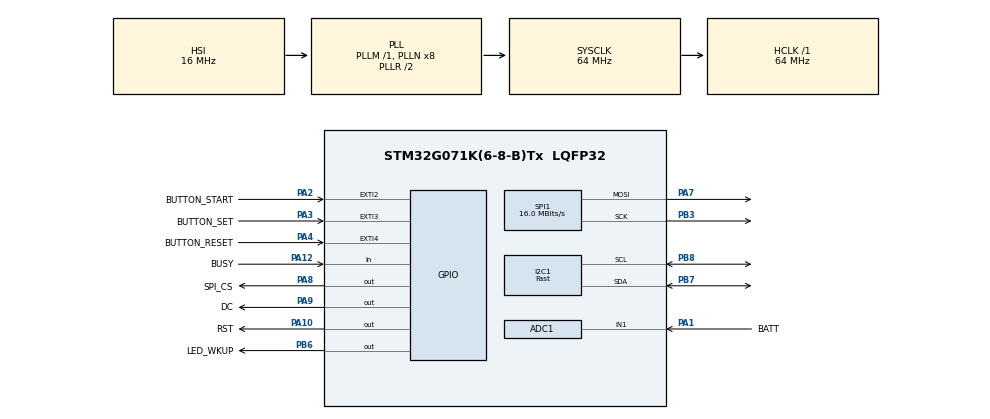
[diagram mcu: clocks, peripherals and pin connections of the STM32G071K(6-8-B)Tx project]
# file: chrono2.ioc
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ADC1.Channel-0\#ChannelRegularConversion=ADC_CHANNEL_1
ADC1.ContinuousConvMode=DISABLE
ADC1.NbrOfConversionFlag=1
ADC1.Overrun=ADC_OVR_DATA_OVERWRITTEN
ADC1.Rank-0\#ChannelRegularConversion=1
ADC1.SamplingTime-0\#ChannelRegularConversion=ADC_SAMPLINGTIME_COMMON_1
ADC1.SelectedChannel=ADC_CHANNEL_1
ADC1.master=1
I2C1.I2C_Speed_Mode=I2C_Fast
I2C1.Timing=0x00602173
Mcu.Family=STM32G0
Mcu.Name=STM32G071K(6-8-B)Tx
Mcu.Package=LQFP32
NVIC.EXTI2_3_IRQn=true\:0\:0\:false\:false\:true\:true\:true\:true
NVIC.EXTI4_15_IRQn=true\:0\:0\:false\:false\:true\:true\:true\:true
NVIC.RTC_TAMP_IRQn=true\:0\:0\:false\:false\:true\:true\:true\:true
NVIC.TIM3_IRQn=true\:0\:0\:false\:false\:true\:true\:true\:true
NVIC.TIM6_DAC_LPTIM1_IRQn=true\:0\:0\:false\:false\:true\:true\:true\:true
PA1.GPIO_Label=BATT
PA1.Mode=IN1
PA1.Signal=ADC1_IN1
PA10.GPIO_Label=RST
PA10.Signal=GPIO_Output
PA12\ [PA10].GPIO_Label=BUSY
PA12\ [PA10].Signal=GPIO_Input
PA13.Mode=Serial_Wire
PA13.Signal=SYS_SWDIO
PA14-BOOT0.Mode=Serial_Wire
PA14-BOOT0.Signal=SYS_SWCLK
PA2.GPIO_Label=BUTTON_START
PA2.GPIO_ModeDefaultEXTI=GPIO_MODE_IT_FALLING
PA2.GPIO_PuPd=GPIO_NOPULL
PA2.Signal=GPXTI2
PA3.GPIO_Label=BUTTON_SET
PA3.GPIO_ModeDefaultEXTI=GPIO_MODE_IT_FALLING
PA3.GPIO_PuPd=GPIO_NOPULL
PA3.Signal=GPXTI3
PA4.GPIO_Label=BUTTON_RESET
PA4.GPIO_ModeDefaultEXTI=GPIO_MODE_IT_FALLING
PA4.GPIO_PuPd=GPIO_NOPULL
PA4.Signal=GPXTI4
PA7.Mode=TX_Only_Simplex_Unidirect_Master
PA7.Signal=SPI1_MOSI
PA8.GPIO_Label=SPI_CS
PA8.Signal=GPIO_Output
PA9.GPIO_Label=DC
PA9.Signal=GPIO_Output
PB3.Mode=TX_Only_Simplex_Unidirect_Master
PB3.Signal=SPI1_SCK
PB6.GPIO_Label=LED_WKUP
PB6.Signal=GPIO_Output
PB7.Mode=I2C
PB7.Signal=I2C1_SDA
PB8.Mode=I2C
PB8.Signal=I2C1_SCL
PC14-OSC32_IN\ (PC14).Mode=LSE-External-Oscillator
PC14-OSC32_IN\ (PC14).Signal=RCC_OSC32_IN
PC15-OSC32_OUT\ (PC15).Mode=LSE-External-Oscillator
PC15-OSC32_OUT\ (PC15).Signal=RCC_OSC32_OUT
ProjectManager.HeapSize=0x200
ProjectManager.StackSize=0x400
ProjectManager.TargetToolchain=STM32CubeIDE
RCC.ADCFreq_Value=64000000
RCC.AHBFreq_Value=64000000
RCC.CortexFreq_Value=64000000
RCC.EXTERNAL_CLOCK_VALUE=48000
RCC.HCLKFreq_Value=64000000
RCC.HSE_VALUE=8000000
RCC.HSI_VALUE=16000000
RCC.RTCClockSelection=RCC_RTCCLKSOURCE_LSE
RCC.SYSCLKFreq_VALUE=64000000
RCC.SYSCLKSource=RCC_SYSCLKSOURCE_PLLCLK
RCC.VCOOutputFreq_Value=128000000
RTC.Date=12
RTC.Format=RTC_FORMAT_BIN
RTC.Hours=10
RTC.Minutes=10
RTC.Month=RTC_MONTH_NOVEMBER
RTC.WakeUpClock-WakeUp=RTC_WAKEUPCLOCK_CK_SPRE_16BITS
RTC.WakeUpCounter-WakeUp=60
RTC.WeekDay=RTC_WEEKDAY_SATURDAY
RTC.Year=22
SPI1.BaudRatePrescaler=SPI_BAUDRATEPRESCALER_4
SPI1.CalculateBaudRate=16.0 MBits/s
SPI1.DataSize=SPI_DATASIZE_8BIT
SPI1.Direction=SPI_DIRECTION_2LINES
SPI1.Mode=SPI_MODE_MASTER
SPI1.VirtualType=VM_MASTER
TIM3.Period=19999
TIM3.Prescaler=3199
TIM6.Period=199
TIM6.Prescaler=3199
VP_CRC_VS_CRC.Mode=CRC_Activate
VP_RTC_VS_RTC_Activate.Mode=RTC_Enabled
VP_RTC_VS_RTC_Calendar.Mode=RTC_Calendar
VP_RTC_VS_RTC_WakeUp_intern.Mode=WakeUp
VP_SYS_VS_DBSignals.Mode=DisableDeadBatterySignals
VP_TIM3_VS_ClockSourceINT.Mode=Internal
VP_TIM6_VS_ClockSourceINT.Mode=Enable_Timer
board=custom

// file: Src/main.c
/* USER CODE BEGIN Header */
/**
 ******************************************************************************
 * @file           : main.c
 * @brief          : Main program body
 ******************************************************************************
 * @attention
 *
 * Copyright (c) 2022 STMicroelectronics.
 * All rights reserved.
 *
 * This software is licensed under terms that can be found in the LICENSE file
 * in the root directory of this software component.
 * If no LICENSE file comes with this software, it is provided AS-IS.
 *
 ******************************************************************************
 */

/*
 * Chrono 2 by Bart's design
 *
 *todo:
 *-automatic color change at night
 *-fix magnetometer current drain
 *-move settings to separate files
 *
 *
 *in cause of multiple definitions in .o files
project->properties->C/C++ Build->Settings->MCU GCC Compiler->Miscellanous
add other flag: -fcommon
 */
/* USER CODE END Header */
#include "main.h"
#include "adc.h"
#include "crc.h"
#include "i2c.h"
#include "rtc.h"
#include "spi.h"
#include "tim.h"
#include "gpio.h"

/* USER CODE BEGIN Includes */

//			Barts design libraries
#include <bd_libs/adc_bd.h>
#include <bd_libs/backup_bd.h>
#include <bd_libs/bme280_bd.h>
#include <bd_libs/lis3mdl_bd.h>
#include <bd_libs/rtc_bd.h>
#include <bd_libs/forecast_bd.h>
#include <chrono/battery.h>
#include <chrono/interface.h>
#include <chrono/sleep.h>
#include <chrono/timers.h>
#include <chrono/watch.h>

//			Display libraries
#include "Display_EPD/EPD_1in54_V2.h"
#include "Display_Config/DEV_Config.h"

//			Waveshare GUI Library
#include "Display_GUI/GUI_Paint.h"

//			tacho libraries
#include <stdlib.h>

//			EEPROM emulation libs
#include "EEPROM_Emul/eeprom_emul.h"

/* USER CODE END Includes */

/* USER CODE BEGIN PV */

//			Create chronograph structure
RTCChronoTypeDef chrono = { 0 };

//			Create sensors structures
lis3mdlTypeDef magnetometer = { 0 };
bme280TypeDef atmospherical = { 0 };

//			Create interface structure
interfaceTypeDef interface = { 0 };

//			Create interface settings structure
interfaceSettingsTypeDef settings = { 0 };

//			Create watch structure
watchTypeDef watch = { 0 };

//			Create forecast structure
forecastTypeDef forecast = { 0 };
/* USER CODE END PV */

void SystemClock_Config(void);

int main(void) {

	/* MCU Configuration--------------------------------------------------------*/

	/* Reset of all peripherals, Initializes the Flash interface and the Systick. */
	HAL_Init();

	/* Configure the system clock */
	SystemClock_Config();

	/* Initialize all configured peripherals */
	MX_GPIO_Init();
	MX_ADC1_Init();
	MX_I2C1_Init();
	MX_RTC_Init();
	MX_SPI1_Init();
	MX_TIM3_Init();
	MX_CRC_Init();
	MX_TIM6_Init();
	/* USER CODE BEGIN 2 */
	rtcInit(&chrono);
	lis3mdlInit(&magnetometer, &hi2c1);
	bme280Init(&atmospherical, &hi2c1);
	interfaceInit(&interface);
	interfaceSettingsInit(&settings);
	watchInit(&watch);
	timersInit();
	batteryCheckInit();
	forecastInit(&forecast);

	interfaceClear(&interface);
	interfaceUpdateModeSwitch(&interface, INTERFACE_UPDATE_MODE_PARTIAL);
	/* USER CODE END 2 */

	/* Infinite loop */
	/* USER CODE BEGIN WHILE */
	while (1) {

		rtcGetTime(&chrono);
		lis3mdlRead(&magnetometer);
		lis3mdlGetCalibrationSample(&magnetometer);
		bme280Read(&atmospherical);
		batteryReadState();
		forecastAppendActual(&forecast, &atmospherical, &chrono);

		if (watch.mode == WATCH_MODE_NORMAL) {
			interfaceClear(&interface);

			HAL_GPIO_WritePin(LED_WKUP_GPIO_Port, LED_WKUP_Pin, 0);

			interfaceDrawMain(&interface, &chrono, &magnetometer,
					&atmospherical, &watch, &forecast);

			HAL_GPIO_WritePin(LED_WKUP_GPIO_Port, LED_WKUP_Pin, 1);

		} else if (watch.mode == WATCH_MODE_SETTINGS) {
			interfaceSettingsClear(&settings);
			interfaceSettingsDraw(&settings, &chrono, &magnetometer,
					&atmospherical, &watch);
		}

		interfaceBurn(&interface);

		if (watch.mode == WATCH_MODE_NORMAL
				&& watch.counterDontSleepTimer >= WATCH_TIME_DONT_SLEEP) {
			goodNight();
		}

		/* USER CODE END WHILE */

	}
}

void SystemClock_Config(void) {
	RCC_OscInitTypeDef RCC_OscInitStruct = { 0 };
	RCC_ClkInitTypeDef RCC_ClkInitStruct = { 0 };

	/** Configure the main internal regulator output voltage
	 */
	HAL_PWREx_ControlVoltageScaling(PWR_REGULATOR_VOLTAGE_SCALE1);

	/** Configure LSE Drive Capability
	 */
	HAL_PWR_EnableBkUpAccess();
	__HAL_RCC_LSEDRIVE_CONFIG(RCC_LSEDRIVE_LOW);

	/** Initializes the RCC Oscillators according to the specified parameters
	 * in the RCC_OscInitTypeDef structure.
	 */
	RCC_OscInitStruct.OscillatorType = RCC_OSCILLATORTYPE_HSI
			| RCC_OSCILLATORTYPE_LSE;
	RCC_OscInitStruct.LSEState = RCC_LSE_ON;
	RCC_OscInitStruct.HSIState = RCC_HSI_ON;
	RCC_OscInitStruct.HSIDiv = RCC_HSI_DIV1;
	RCC_OscInitStruct.HSICalibrationValue = RCC_HSICALIBRATION_DEFAULT;
	RCC_OscInitStruct.PLL.PLLState = RCC_PLL_ON;
	RCC_OscInitStruct.PLL.PLLSource = RCC_PLLSOURCE_HSI;
	RCC_OscInitStruct.PLL.PLLM = RCC_PLLM_DIV1;
	RCC_OscInitStruct.PLL.PLLN = 8;
	RCC_OscInitStruct.PLL.PLLP = RCC_PLLP_DIV2;
	RCC_OscInitStruct.PLL.PLLQ = RCC_PLLQ_DIV2;
	RCC_OscInitStruct.PLL.PLLR = RCC_PLLR_DIV2;
	if (HAL_RCC_OscConfig(&RCC_OscInitStruct) != HAL_OK) {
		Error_Handler();
	}

	/** Initializes the CPU, AHB and APB buses clocks
	 */
	RCC_ClkInitStruct.ClockType = RCC_CLOCKTYPE_HCLK | RCC_CLOCKTYPE_SYSCLK
			| RCC_CLOCKTYPE_PCLK1;
	RCC_ClkInitStruct.SYSCLKSource = RCC_SYSCLKSOURCE_PLLCLK;
	RCC_ClkInitStruct.AHBCLKDivider = RCC_SYSCLK_DIV1;
	RCC_ClkInitStruct.APB1CLKDivider = RCC_HCLK_DIV1;

	if (HAL_RCC_ClockConfig(&RCC_ClkInitStruct, FLASH_LATENCY_2) != HAL_OK) {
		Error_Handler();
	}
}

void Error_Handler(void) {
	__disable_irq();
	while (1) {
	}
}
